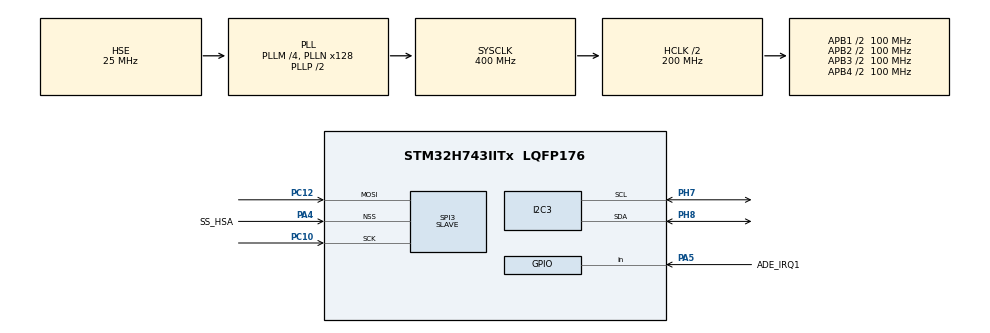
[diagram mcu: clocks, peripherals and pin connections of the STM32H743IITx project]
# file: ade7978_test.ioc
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I2C3.Timing=0x10C0ECFF
Mcu.Family=STM32H7
Mcu.Name=STM32H743IITx
Mcu.Package=LQFP176
NVIC.I2C3_ER_IRQn=true\:0\:0\:false\:false\:true\:true\:true
NVIC.I2C3_EV_IRQn=true\:0\:0\:false\:false\:true\:true\:true
NVIC.PriorityGroup=NVIC_PRIORITYGROUP_4
NVIC.SPI3_IRQn=true\:0\:0\:false\:false\:true\:true\:true
PA4.GPIO_Label=SS_HSA
PA4.Mode=NSS_Signal_Hard_Input
PA4.Signal=SPI3_NSS
PA5.GPIO_Label=ADE_IRQ1
PA5.Signal=GPIO_Input
PC10.Mode=RX_Only_Simplex_Unidirect_Slave
PC10.Signal=SPI3_SCK
PC12.Mode=RX_Only_Simplex_Unidirect_Slave
PC12.Signal=SPI3_MOSI
PH0-OSC_IN\ (PH0).Mode=HSE-External-Oscillator
PH0-OSC_IN\ (PH0).Signal=RCC_OSC_IN
PH1-OSC_OUT\ (PH1).Mode=HSE-External-Oscillator
PH1-OSC_OUT\ (PH1).Signal=RCC_OSC_OUT
PH7.Mode=I2C
PH7.Signal=I2C3_SCL
PH8.Mode=I2C
PH8.Signal=I2C3_SDA
ProjectManager.HeapSize=0x200
ProjectManager.StackSize=0x400
ProjectManager.TargetToolchain=MDK-ARM V5.27
RCC.ADCFreq_Value=50390625
RCC.APB1Freq_Value=100000000
RCC.APB2Freq_Value=100000000
RCC.APB3Freq_Value=100000000
RCC.APB4Freq_Value=100000000
RCC.CortexFreq_Value=400000000
RCC.D1PPRE=RCC_APB3_DIV2
RCC.D2PPRE1=RCC_APB1_DIV2
RCC.D2PPRE2=RCC_APB2_DIV2
RCC.D3PPRE=RCC_APB4_DIV2
RCC.DIVM1=4
RCC.DIVN1=128
RCC.DIVQ1=4
RCC.HCLKFreq_Value=200000000
RCC.HPRE=RCC_HCLK_DIV2
RCC.HSE_VALUE=25000000
RCC.PLL1_VCI_Range=RCC_PLL1VCIRANGE_3
RCC.PLLSourceVirtual=RCC_PLLSOURCE_HSE
RCC.SYSCLKFreq_VALUE=400000000
RCC.SYSCLKSource=RCC_SYSCLKSOURCE_PLLCLK
RCC.USBFreq_Value=200000000
SPI3.CLKPhase=SPI_PHASE_2EDGE
SPI3.CLKPolarity=SPI_POLARITY_HIGH
SPI3.DataSize=SPI_DATASIZE_32BIT
SPI3.Direction=SPI_DIRECTION_2LINES_RXONLY
SPI3.MasterInterDataIdleness=SPI_MASTER_INTERDATA_IDLENESS_07CYCLE
SPI3.MasterSSIdleness=SPI_MASTER_SS_IDLENESS_07CYCLE
SPI3.Mode=SPI_MODE_SLAVE
SPI3.VirtualNSS=VM_NSSHARD
SPI3.VirtualType=VM_SLAVE
board=custom

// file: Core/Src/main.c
/* USER CODE BEGIN Header */
/**
  ******************************************************************************
  * @file           : main.c
  * @brief          : Main program body
  ******************************************************************************
  * @attention
  *
  * <h2><center>&copy; Copyright (c) 2021 STMicroelectronics.
  * All rights reserved.</center></h2>
  *
  * This software component is licensed by ST under BSD 3-Clause license,
  * the "License"; You may not use this file except in compliance with the
  * License. You may obtain a copy of the License at:
  *                        opensource.org/licenses/BSD-3-Clause
  *
  ******************************************************************************
  */
/* USER CODE END Header */
#include "main.h"
#include "i2c.h"
#include "spi.h"
#include "gpio.h"

/* USER CODE BEGIN Includes */
#include "ade7978.h"
/* USER CODE END Includes */

/* USER CODE BEGIN PV */
uint8_t init_state;
uint32_t AVRMS_value=0;
uint32_t AV2RMS_value=0;
uint32_t BVRMS_value=0;
uint32_t BV2RMS_value=0;
uint32_t CVRMS_value=0;
uint32_t CV2RMS_value=0;
extern uint32_t hsdc_value[16];

/* USER CODE END PV */

void SystemClock_Config(void);

int main(void)
{

  /* MCU Configuration--------------------------------------------------------*/

  /* Reset of all peripherals, Initializes the Flash interface and the Systick. */
  HAL_Init();

  /* Configure the system clock */
  SystemClock_Config();

  /* Initialize all configured peripherals */
  MX_GPIO_Init();
  MX_SPI3_Init();
  MX_I2C3_Init();
  /* USER CODE BEGIN 2 */
	init_state=ade7978_init();

  /* USER CODE END 2 */

  /* Infinite loop */
  while (1)
  {

    /* USER CODE BEGIN 3 */
//		ade7978_read_validation(AVRMS,(uint8_t *)&AVRMS_value,4);
//		HAL_Delay(100);
		if(init_state){
			ade7978_read_validation(AVRMS,(uint8_t *)&AVRMS_value, 4);
//			data_mirror((uint8_t *)&AVRMS_value,4);
			ade7978_read_validation(AV2RMS,(uint8_t *)&AV2RMS_value, 4);

			ade7978_read_validation(BVRMS,(uint8_t *)&BVRMS_value, 4);
			ade7978_read_validation(BV2RMS,(uint8_t *)&BV2RMS_value, 4);

			ade7978_read_validation(CVRMS,(uint8_t *)&CVRMS_value, 4);
			ade7978_read_validation(CV2RMS,(uint8_t *)&CV2RMS_value, 4);
			HAL_Delay(100);
		}
		HAL_Delay(100);
  }
  /* USER CODE END 3 */
}

void SystemClock_Config(void)
{
  RCC_OscInitTypeDef RCC_OscInitStruct = {0};
  RCC_ClkInitTypeDef RCC_ClkInitStruct = {0};

  /** Supply configuration update enable
  */
  HAL_PWREx_ConfigSupply(PWR_LDO_SUPPLY);
  /** Configure the main internal regulator output voltage
  */
  __HAL_PWR_VOLTAGESCALING_CONFIG(PWR_REGULATOR_VOLTAGE_SCALE1);

  while(!__HAL_PWR_GET_FLAG(PWR_FLAG_VOSRDY)) {}
  /** Initializes the RCC Oscillators according to the specified parameters
  * in the RCC_OscInitTypeDef structure.
  */
  RCC_OscInitStruct.OscillatorType = RCC_OSCILLATORTYPE_HSE;
  RCC_OscInitStruct.HSEState = RCC_HSE_ON;
  RCC_OscInitStruct.PLL.PLLState = RCC_PLL_ON;
  RCC_OscInitStruct.PLL.PLLSource = RCC_PLLSOURCE_HSE;
  RCC_OscInitStruct.PLL.PLLM = 4;
  RCC_OscInitStruct.PLL.PLLN = 128;
  RCC_OscInitStruct.PLL.PLLP = 2;
  RCC_OscInitStruct.PLL.PLLQ = 4;
  RCC_OscInitStruct.PLL.PLLR = 2;
  RCC_OscInitStruct.PLL.PLLRGE = RCC_PLL1VCIRANGE_3;
  RCC_OscInitStruct.PLL.PLLVCOSEL = RCC_PLL1VCOWIDE;
  RCC_OscInitStruct.PLL.PLLFRACN = 0;
  if (HAL_RCC_OscConfig(&RCC_OscInitStruct) != HAL_OK)
  {
    Error_Handler();
  }
  /** Initializes the CPU, AHB and APB buses clocks
  */
  RCC_ClkInitStruct.ClockType = RCC_CLOCKTYPE_HCLK|RCC_CLOCKTYPE_SYSCLK
                              |RCC_CLOCKTYPE_PCLK1|RCC_CLOCKTYPE_PCLK2
                              |RCC_CLOCKTYPE_D3PCLK1|RCC_CLOCKTYPE_D1PCLK1;
  RCC_ClkInitStruct.SYSCLKSource = RCC_SYSCLKSOURCE_PLLCLK;
  RCC_ClkInitStruct.SYSCLKDivider = RCC_SYSCLK_DIV1;
  RCC_ClkInitStruct.AHBCLKDivider = RCC_HCLK_DIV2;
  RCC_ClkInitStruct.APB3CLKDivider = RCC_APB3_DIV2;
  RCC_ClkInitStruct.APB1CLKDivider = RCC_APB1_DIV2;
  RCC_ClkInitStruct.APB2CLKDivider = RCC_APB2_DIV2;
  RCC_ClkInitStruct.APB4CLKDivider = RCC_APB4_DIV2;

  if (HAL_RCC_ClockConfig(&RCC_ClkInitStruct, FLASH_LATENCY_2) != HAL_OK)
  {
    Error_Handler();
  }
}

/* USER CODE BEGIN 4 */
void HAL_SPI_RxCpltCallback(SPI_HandleTypeDef *hspi)
{
	if(hspi->Instance==hspi3.Instance){
		HAL_SPI_Receive_IT(&hspi3,(uint8_t*)&hsdc_value,16);
	}
}

/* USER CODE END 4 */

void Error_Handler(void)
{
  __disable_irq();
  while (1)
  {
  }
}

/************************ (C) COPYRIGHT STMicroelectronics *****END OF FILE****/
